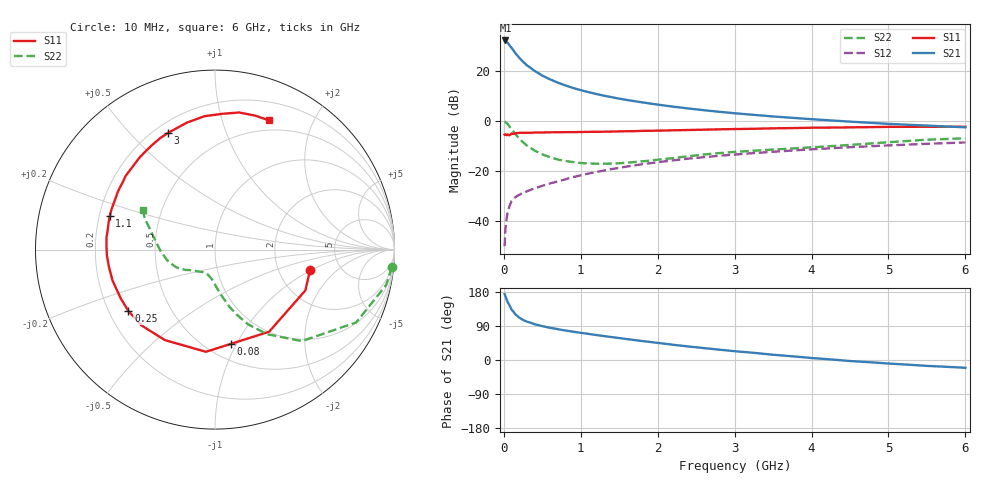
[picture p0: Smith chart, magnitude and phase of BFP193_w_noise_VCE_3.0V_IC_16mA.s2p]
! Infineon Technologies  Discrete & RF Semiconductors
! BFP193
! VCE =  3.0 V,  IC =  16 mA
! Common Emitter S-Parameters:  Jan 2017
# GHz  S  MA  R  50
!  f  S11  S21  S12  S22
! GHz  MAG  ANG  MAG  ANG  MAG  ANG  MAG  ANG
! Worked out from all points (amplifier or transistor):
!   77 points, 10 MHz to 6 GHz, reference 50 ohm
!   highest |S21| = 32.3 dB at 20 MHz (marker M1)
!   |S21| within 3 dB of that: start of sweep to 101.5 MHz
!   unconditionally stable (mu >= 1): 908.1 MHz to 2.602 GHz
!   at 130 MHz: K = 0.33, MSG = 29.5 dB, |S12| = -30.9 dB
!   at 2.2 GHz: K = 1.02, MAG = 9.8 dB, |S12| = -15.6 dB
!   at 6 GHz: K = 0.91, MSG = 3.0 dB, |S12| = -8.4 dB
!   lowest NFmin = 0.97 dB at 450 MHz
!   S11 on the Smith chart (normalised r, x): 10 MHz: 3.00, -0.99; 80 MHz: 0.65, -0.95; 250 MHz: 0.28, -0.30; 1.1 GHz: 0.24, +0.15; 3 GHz: 0.25, +0.65; 6 GHz: 0.39, +1.43
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0.01  0.5417 -12.4  41.16 174.0  0.0032 88.7  0.9904 -5.7
0.02  0.5524 -24.3  41.31 168.4  0.0068 84.2  0.9736 -11.7
0.05  0.5479 -56.6  37.14 152.4  0.0154 68.1  0.8851 -27.3
0.08  0.5323 -80.2  32.06 141.8  0.0214 59.8  0.7654 -37.7
0.1  0.5716 -95.1  29.46 132.9  0.0255 56.4  0.7034 -46.4
0.15  0.5763 -119.0  23.06 120.3  0.0307 50.5  0.5549 -58.3
0.2  0.5884 -134.1  18.64 111.9  0.034 47.3  0.4535 -66.3
0.25  0.5912 -144.7  15.47 105.6  0.0372 47.3  0.381 -71.6
0.3  0.5915 -152.4  13.17 101.2  0.0399 48.0  0.3279 -75.8
0.4  0.5964 -163.2  10.15 94.3  0.0458 49.7  0.2597 -81.8
0.5  0.599 -171.0  8.204 89.3  0.0513 51.5  0.219 -86.5
0.6  0.6033 -177.1  6.904 85.0  0.0575 53.5  0.1916 -90.7
0.7  0.6048 178.2  5.936 81.4  0.0628 55.4  0.1727 -94.1
0.9  0.6078 169.4  4.64 74.7  0.0769 56.5  0.1535 -101.1
1.1  0.6158 162.2  3.83 68.9  0.0904 56.8  0.144 -107.7
1.5  0.6294 149.5  2.837 57.9  0.1175 55.5  0.1454 -121.4
2.1  0.6558 132.4  2.059 42.8  0.159 51.0  0.1773 -139.2
3  0.701 111.9  1.45 23.2  0.2168 41.8  0.2451 -158.2
3.1  0.7042 110.0  1.407 21.5  0.2226 40.7  0.2502 -160.2
4.1  0.747 92.9  1.079 3.8  0.2812 30.0  0.3086 179.4
5.1  0.7756 78.7  0.876 -10.5  0.3352 18.9  0.3913 160.8
6  0.7802 67.4  0.759 -20.6  0.3785 8.9  0.4583 151.0
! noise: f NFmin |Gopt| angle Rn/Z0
0.45  0.97  0.24  173  0.07
0.9  1.06  0.36  179  0.07
1.9  1.74  0.56  -142  0.14
2.4  2.05  0.62  -125  0.33
